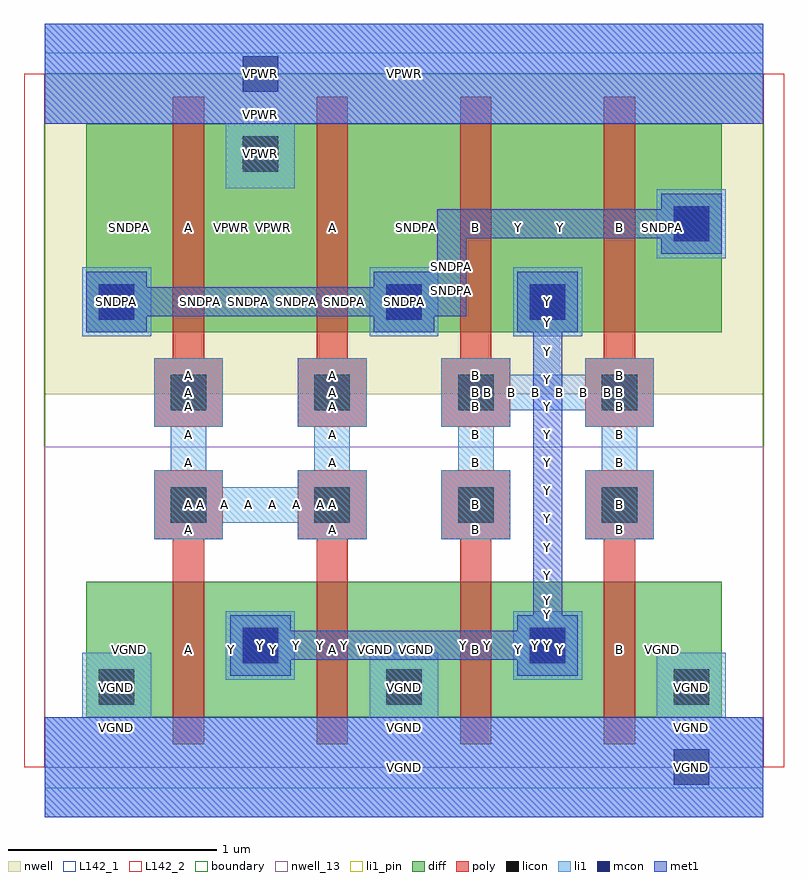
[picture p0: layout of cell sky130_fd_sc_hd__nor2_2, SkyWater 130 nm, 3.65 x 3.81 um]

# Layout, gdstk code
import gdstk
lib = gdstk.Library(unit=1e-6, precision=1e-09)
def R(c, l, rs):  # rectangles x0, y0, x1, y1
    for r in rs: c.add(gdstk.rectangle(r[:2], r[2:], *l))
def A(c, l, x, y, w, h, nx, ny, dx, dy):  # array of equal rectangles
    R(c, l, [(x+i*dx, y+j*dy, x+i*dx+w, y+j*dy+h) for i in range(nx) for j in range(ny)])
def P(c, l, *ps):  # polygons
    for p in ps: c.add(gdstk.Polygon(p, *l))
nwell_13 = (64, 13)
nwell = (64, 20)
diff = (65, 20)
poly = (66, 20)
licon = (66, 44)
li1_pin = (67, 16)
li1 = (67, 20)
mcon = (67, 44)
met1 = (68, 20)
L142_1 = (142, 1)
L142_2 = (142, 2)
boundary = (235, 4)

sky130_fd_sc_hd__nor2_2 = lib.new_cell('sky130_fd_sc_hd__nor2_2')
R(sky130_fd_sc_hd__nor2_2, nwell_13, [(0,0,3.45,1.54)])
R(sky130_fd_sc_hd__nor2_2, nwell, [(0,1.79,3.45,3.33)])
A(sky130_fd_sc_hd__nor2_2, diff, 0.615, 0.24, 0.69, 0.65, 3, 1, 0.69, 0)
A(sky130_fd_sc_hd__nor2_2, diff, 0.615, 2.09, 0.69, 1, 3, 1, 0.69, 0)
R(sky130_fd_sc_hd__nor2_2, diff, [(0.2,0.24,3.25,0.89), (0.2,0.24,0.615,0.89), (2.685,0.24,3.25,0.89), (0.2,2.09,3.25,3.09), (0.2,2.09,0.615,3.09), (2.685,2.09,3.25,3.09)])
P(sky130_fd_sc_hd__nor2_2, poly, [(1.995,0.11),(1.995,1.095),(1.905,1.095),(1.905,1.425),(2.235,1.425),(2.235,1.095),(2.145,1.095),(2.145,0.11)],
  [(2.685,0.11),(2.685,1.095),(2.595,1.095),(2.595,1.425),(2.925,1.425),(2.925,1.095),(2.835,1.095),(2.835,0.11)],
  [(1.905,1.635),(1.905,1.965),(1.995,1.965),(1.995,3.22),(2.145,3.22),(2.145,1.965),(2.235,1.965),(2.235,1.635)],
  [(2.595,1.635),(2.595,1.965),(2.685,1.965),(2.685,3.22),(2.835,3.22),(2.835,1.965),(2.925,1.965),(2.925,1.635)],
  [(0.615,0.11),(0.615,1.095),(0.525,1.095),(0.525,1.425),(0.855,1.425),(0.855,1.095),(0.765,1.095),(0.765,0.11)],
  [(1.305,0.11),(1.305,1.095),(1.215,1.095),(1.215,1.425),(1.545,1.425),(1.545,1.095),(1.455,1.095),(1.455,0.11)],
  [(0.525,1.635),(0.525,1.965),(0.615,1.965),(0.615,3.22),(0.765,3.22),(0.765,1.965),(0.855,1.965),(0.855,1.635)],
  [(1.215,1.635),(1.215,1.965),(1.305,1.965),(1.305,3.22),(1.455,3.22),(1.455,1.965),(1.545,1.965),(1.545,1.635)])
A(sky130_fd_sc_hd__nor2_2, licon, 0.26, 0.3, 0.17, 0.17, 3, 1, 1.38, 0)
A(sky130_fd_sc_hd__nor2_2, licon, 0.605, 1.175, 0.17, 0.17, 4, 2, 0.69, 0.54)
R(sky130_fd_sc_hd__nor2_2, licon, [(0.95,0.5,1.12,0.67), (2.33,0.5,2.5,0.67), (0.26,2.15,0.43,2.32), (1.64,2.15,1.81,2.32), (2.33,2.15,2.5,2.32), (3.02,2.525,3.19,2.695), (0.95,2.86,1.12,3.03)])
R(sky130_fd_sc_hd__nor2_2, li1_pin, [(0,-0.24,3.45,0.24), (0.87,0.42,1.2,0.75), (0,3.09,3.45,3.57)])
P(sky130_fd_sc_hd__nor2_2, li1_pin, [(1.905,1.095),(1.905,1.425),(1.985,1.425),(1.985,1.635),(1.905,1.635),(1.905,1.965),(2.235,1.965),(2.235,1.885),(2.595,1.885),(2.595,1.965),(2.925,1.965),(2.925,1.635),(2.845,1.635),(2.845,1.425),(2.925,1.425),(2.925,1.095),(2.595,1.095),(2.595,1.425),(2.675,1.425),(2.675,1.635),(2.595,1.635),(2.595,1.715),(2.235,1.715),(2.235,1.635),(2.155,1.635),(2.155,1.425),(2.235,1.425),(2.235,1.095)],
  [(0.525,1.095),(0.525,1.425),(0.605,1.425),(0.605,1.635),(0.525,1.635),(0.525,1.965),(0.855,1.965),(0.855,1.635),(0.775,1.635),(0.775,1.425),(0.855,1.425),(0.855,1.345),(1.215,1.345),(1.215,1.425),(1.295,1.425),(1.295,1.635),(1.215,1.635),(1.215,1.965),(1.545,1.965),(1.545,1.635),(1.465,1.635),(1.465,1.425),(1.545,1.425),(1.545,1.095),(1.215,1.095),(1.215,1.175),(0.855,1.175),(0.855,1.095)])
R(sky130_fd_sc_hd__nor2_2, li1, [(0.87,0.42,1.2,0.75), (2.25,0.42,2.58,0.75), (0.18,2.07,0.51,2.4), (1.56,2.07,1.89,2.4), (2.25,2.07,2.58,2.4), (2.94,2.445,3.27,2.775)])
P(sky130_fd_sc_hd__nor2_2, li1, [(1.905,1.095),(1.905,1.425),(1.985,1.425),(1.985,1.635),(1.905,1.635),(1.905,1.965),(2.235,1.965),(2.235,1.885),(2.595,1.885),(2.595,1.965),(2.925,1.965),(2.925,1.635),(2.845,1.635),(2.845,1.425),(2.925,1.425),(2.925,1.095),(2.595,1.095),(2.595,1.425),(2.675,1.425),(2.675,1.635),(2.595,1.635),(2.595,1.715),(2.235,1.715),(2.235,1.635),(2.155,1.635),(2.155,1.425),(2.235,1.425),(2.235,1.095)],
  [(0.87,2.78),(0.87,3.09),(0,3.09),(0,3.57),(3.45,3.57),(3.45,3.09),(1.2,3.09),(1.2,2.78)],
  [(0,-0.24),(0,0.24),(0.18,0.24),(0.18,0.55),(0.51,0.55),(0.51,0.24),(1.56,0.24),(1.56,0.55),(1.89,0.55),(1.89,0.24),(2.94,0.24),(2.94,0.55),(3.27,0.55),(3.27,0.24),(3.45,0.24),(3.45,-0.24)],
  [(0.525,1.095),(0.525,1.425),(0.605,1.425),(0.605,1.635),(0.525,1.635),(0.525,1.965),(0.855,1.965),(0.855,1.635),(0.775,1.635),(0.775,1.425),(0.855,1.425),(0.855,1.345),(1.215,1.345),(1.215,1.425),(1.295,1.425),(1.295,1.635),(1.215,1.635),(1.215,1.965),(1.545,1.965),(1.545,1.635),(1.465,1.635),(1.465,1.425),(1.545,1.425),(1.545,1.095),(1.215,1.095),(1.215,1.175),(0.855,1.175),(0.855,1.095)])
R(sky130_fd_sc_hd__nor2_2, mcon, [(3.02,-0.085,3.19,0.085), (0.95,0.5,1.12,0.67), (2.33,0.5,2.5,0.67), (0.26,2.15,0.43,2.32), (1.64,2.15,1.81,2.32), (2.33,2.15,2.5,2.32), (3.02,2.525,3.19,2.695), (0.95,3.245,1.12,3.415)])
R(sky130_fd_sc_hd__nor2_2, met1, [(0,-0.24,3.45,0.24), (1.87,2.305,1.885,2.38), (0,3.09,3.45,3.57)])
P(sky130_fd_sc_hd__nor2_2, met1, [(0.89,0.44),(0.89,0.73),(1.18,0.73),(1.18,0.655),(2.27,0.655),(2.27,0.73),(2.345,0.73),(2.345,2.09),(2.27,2.09),(2.27,2.38),(2.56,2.38),(2.56,2.09),(2.485,2.09),(2.485,0.73),(2.56,0.73),(2.56,0.44),(2.27,0.44),(2.27,0.515),(1.18,0.515),(1.18,0.44)],
  [(0.2,2.09),(0.2,2.38),(0.49,2.38),(0.49,2.305),(1.58,2.305),(1.58,2.38),(1.87,2.38),(1.87,2.305),(1.885,2.305),(1.885,2.68),(2.96,2.68),(2.96,2.755),(3.25,2.755),(3.25,2.465),(2.96,2.465),(2.96,2.54),(2.025,2.54),(2.025,2.165),(1.87,2.165),(1.87,2.09),(1.58,2.09),(1.58,2.165),(0.49,2.165),(0.49,2.09)])
R(sky130_fd_sc_hd__nor2_2, L142_1, [(0,-0.1,3.45,0), (0,3.33,3.45,3.43)])
R(sky130_fd_sc_hd__nor2_2, L142_2, [(-0.1,0,0,3.33), (3.45,0,3.55,3.33)])
R(sky130_fd_sc_hd__nor2_2, boundary, [(0,0,3.45,3.33)])
sky130_fd_sc_hd__nor2_2.add(gdstk.Label('Y', (2.477,0.565), layer=65, texttype=20))
sky130_fd_sc_hd__nor2_2.add(gdstk.Label('VGND', (2.967,0.565), layer=65, texttype=20))
sky130_fd_sc_hd__nor2_2.add(gdstk.Label('VGND', (1.787,0.565), layer=65, texttype=20))
sky130_fd_sc_hd__nor2_2.add(gdstk.Label('Y', (2.277,0.565), layer=65, texttype=20))
sky130_fd_sc_hd__nor2_2.add(gdstk.Label('Y', (1.097,0.565), layer=65, texttype=20))
sky130_fd_sc_hd__nor2_2.add(gdstk.Label('VGND', (1.587,0.565), layer=65, texttype=20))
sky130_fd_sc_hd__nor2_2.add(gdstk.Label('VGND', (0.407,0.565), layer=65, texttype=20))
sky130_fd_sc_hd__nor2_2.add(gdstk.Label('Y', (0.897,0.565), layer=65, texttype=20))
sky130_fd_sc_hd__nor2_2.add(gdstk.Label('Y', (2.477,0.565), layer=65, texttype=20))
sky130_fd_sc_hd__nor2_2.add(gdstk.Label('VGND', (2.967,0.565), layer=65, texttype=20))
sky130_fd_sc_hd__nor2_2.add(gdstk.Label('VGND', (1.787,0.565), layer=65, texttype=20))
sky130_fd_sc_hd__nor2_2.add(gdstk.Label('Y', (2.277,0.565), layer=65, texttype=20))
sky130_fd_sc_hd__nor2_2.add(gdstk.Label('Y', (1.097,0.565), layer=65, texttype=20))
sky130_fd_sc_hd__nor2_2.add(gdstk.Label('VGND', (1.587,0.565), layer=65, texttype=20))
sky130_fd_sc_hd__nor2_2.add(gdstk.Label('VGND', (0.407,0.565), layer=65, texttype=20))
sky130_fd_sc_hd__nor2_2.add(gdstk.Label('Y', (0.897,0.565), layer=65, texttype=20))
sky130_fd_sc_hd__nor2_2.add(gdstk.Label('Y', (2.415,0.585), layer=65, texttype=20))
sky130_fd_sc_hd__nor2_2.add(gdstk.Label('Y', (1.035,0.585), layer=65, texttype=20))
sky130_fd_sc_hd__nor2_2.add(gdstk.Label('VGND', (3.105,0.385), layer=65, texttype=20))
sky130_fd_sc_hd__nor2_2.add(gdstk.Label('VGND', (0.345,0.385), layer=65, texttype=20))
sky130_fd_sc_hd__nor2_2.add(gdstk.Label('VGND', (1.725,0.385), layer=65, texttype=20))
sky130_fd_sc_hd__nor2_2.add(gdstk.Label('SNDPA', (1.787,2.59), layer=65, texttype=20))
sky130_fd_sc_hd__nor2_2.add(gdstk.Label('Y', (2.277,2.59), layer=65, texttype=20))
sky130_fd_sc_hd__nor2_2.add(gdstk.Label('Y', (2.477,2.59), layer=65, texttype=20))
sky130_fd_sc_hd__nor2_2.add(gdstk.Label('SNDPA', (2.967,2.59), layer=65, texttype=20))
sky130_fd_sc_hd__nor2_2.add(gdstk.Label('SNDPA', (0.407,2.59), layer=65, texttype=20))
sky130_fd_sc_hd__nor2_2.add(gdstk.Label('VPWR', (0.897,2.59), layer=65, texttype=20))
sky130_fd_sc_hd__nor2_2.add(gdstk.Label('VPWR', (1.097,2.59), layer=65, texttype=20))
sky130_fd_sc_hd__nor2_2.add(gdstk.Label('SNDPA', (1.587,2.59), layer=65, texttype=20))
sky130_fd_sc_hd__nor2_2.add(gdstk.Label('SNDPA', (1.787,2.59), layer=65, texttype=20))
sky130_fd_sc_hd__nor2_2.add(gdstk.Label('Y', (2.277,2.59), layer=65, texttype=20))
sky130_fd_sc_hd__nor2_2.add(gdstk.Label('Y', (2.477,2.59), layer=65, texttype=20))
sky130_fd_sc_hd__nor2_2.add(gdstk.Label('SNDPA', (2.967,2.59), layer=65, texttype=20))
sky130_fd_sc_hd__nor2_2.add(gdstk.Label('SNDPA', (0.407,2.59), layer=65, texttype=20))
sky130_fd_sc_hd__nor2_2.add(gdstk.Label('VPWR', (0.897,2.59), layer=65, texttype=20))
sky130_fd_sc_hd__nor2_2.add(gdstk.Label('VPWR', (1.097,2.59), layer=65, texttype=20))
sky130_fd_sc_hd__nor2_2.add(gdstk.Label('SNDPA', (1.587,2.59), layer=65, texttype=20))
sky130_fd_sc_hd__nor2_2.add(gdstk.Label('Y', (2.415,2.235), layer=65, texttype=20))
sky130_fd_sc_hd__nor2_2.add(gdstk.Label('SNDPA', (1.725,2.235), layer=65, texttype=20))
sky130_fd_sc_hd__nor2_2.add(gdstk.Label('SNDPA', (0.345,2.235), layer=65, texttype=20))
sky130_fd_sc_hd__nor2_2.add(gdstk.Label('SNDPA', (3.105,2.61), layer=65, texttype=20))
sky130_fd_sc_hd__nor2_2.add(gdstk.Label('VPWR', (1.035,2.945), layer=65, texttype=20))
sky130_fd_sc_hd__nor2_2.add(gdstk.Label('B', (2.07,2.59), layer=66, texttype=20))
sky130_fd_sc_hd__nor2_2.add(gdstk.Label('B', (2.76,0.565), layer=66, texttype=20))
sky130_fd_sc_hd__nor2_2.add(gdstk.Label('B', (2.76,2.59), layer=66, texttype=20))
sky130_fd_sc_hd__nor2_2.add(gdstk.Label('B', (2.07,0.565), layer=66, texttype=20))
sky130_fd_sc_hd__nor2_2.add(gdstk.Label('A', (1.38,0.565), layer=66, texttype=20))
sky130_fd_sc_hd__nor2_2.add(gdstk.Label('A', (0.69,0.565), layer=66, texttype=20))
sky130_fd_sc_hd__nor2_2.add(gdstk.Label('A', (0.69,2.59), layer=66, texttype=20))
sky130_fd_sc_hd__nor2_2.add(gdstk.Label('A', (1.38,2.59), layer=66, texttype=20))
sky130_fd_sc_hd__nor2_2.add(gdstk.Label('B', (2.07,2.59), layer=66, texttype=20))
sky130_fd_sc_hd__nor2_2.add(gdstk.Label('B', (2.76,0.565), layer=66, texttype=20))
sky130_fd_sc_hd__nor2_2.add(gdstk.Label('B', (2.76,2.59), layer=66, texttype=20))
sky130_fd_sc_hd__nor2_2.add(gdstk.Label('B', (2.07,0.565), layer=66, texttype=20))
sky130_fd_sc_hd__nor2_2.add(gdstk.Label('A', (1.38,0.565), layer=66, texttype=20))
sky130_fd_sc_hd__nor2_2.add(gdstk.Label('A', (0.69,0.565), layer=66, texttype=20))
sky130_fd_sc_hd__nor2_2.add(gdstk.Label('A', (0.69,2.59), layer=66, texttype=20))
sky130_fd_sc_hd__nor2_2.add(gdstk.Label('A', (1.38,2.59), layer=66, texttype=20))
sky130_fd_sc_hd__nor2_2.add(gdstk.Label('B', (2.07,1.88), layer=66, texttype=20))
sky130_fd_sc_hd__nor2_2.add(gdstk.Label('B', (2.07,1.14), layer=66, texttype=20))
sky130_fd_sc_hd__nor2_2.add(gdstk.Label('B', (2.76,1.88), layer=66, texttype=20))
sky130_fd_sc_hd__nor2_2.add(gdstk.Label('B', (2.76,1.14), layer=66, texttype=20))
sky130_fd_sc_hd__nor2_2.add(gdstk.Label('A', (1.38,1.14), layer=66, texttype=20))
sky130_fd_sc_hd__nor2_2.add(gdstk.Label('A', (1.38,1.88), layer=66, texttype=20))
sky130_fd_sc_hd__nor2_2.add(gdstk.Label('A', (0.69,1.14), layer=66, texttype=20))
sky130_fd_sc_hd__nor2_2.add(gdstk.Label('A', (0.69,1.88), layer=66, texttype=20))
sky130_fd_sc_hd__nor2_2.add(gdstk.Label('B', (2.07,1.8), layer=66, texttype=20))
sky130_fd_sc_hd__nor2_2.add(gdstk.Label('B', (2.07,1.26), layer=66, texttype=20))
sky130_fd_sc_hd__nor2_2.add(gdstk.Label('B', (2.76,1.8), layer=66, texttype=20))
sky130_fd_sc_hd__nor2_2.add(gdstk.Label('B', (2.76,1.26), layer=66, texttype=20))
sky130_fd_sc_hd__nor2_2.add(gdstk.Label('A', (1.38,1.26), layer=66, texttype=20))
sky130_fd_sc_hd__nor2_2.add(gdstk.Label('A', (1.38,1.8), layer=66, texttype=20))
sky130_fd_sc_hd__nor2_2.add(gdstk.Label('A', (0.69,1.26), layer=66, texttype=20))
sky130_fd_sc_hd__nor2_2.add(gdstk.Label('A', (0.69,1.8), layer=66, texttype=20))
sky130_fd_sc_hd__nor2_2.add(gdstk.Label('Y', (2.415,2.235), layer=66, texttype=44))
sky130_fd_sc_hd__nor2_2.add(gdstk.Label('SNDPA', (1.725,2.235), layer=66, texttype=44))
sky130_fd_sc_hd__nor2_2.add(gdstk.Label('SNDPA', (0.345,2.235), layer=66, texttype=44))
sky130_fd_sc_hd__nor2_2.add(gdstk.Label('SNDPA', (3.105,2.61), layer=66, texttype=44))
sky130_fd_sc_hd__nor2_2.add(gdstk.Label('VPWR', (1.035,2.945), layer=66, texttype=44))
sky130_fd_sc_hd__nor2_2.add(gdstk.Label('Y', (2.415,0.585), layer=66, texttype=44))
sky130_fd_sc_hd__nor2_2.add(gdstk.Label('Y', (1.035,0.585), layer=66, texttype=44))
sky130_fd_sc_hd__nor2_2.add(gdstk.Label('VGND', (3.105,0.385), layer=66, texttype=44))
sky130_fd_sc_hd__nor2_2.add(gdstk.Label('VGND', (0.345,0.385), layer=66, texttype=44))
sky130_fd_sc_hd__nor2_2.add(gdstk.Label('VGND', (1.725,0.385), layer=66, texttype=44))
sky130_fd_sc_hd__nor2_2.add(gdstk.Label('B', (2.07,1.8), layer=66, texttype=44))
sky130_fd_sc_hd__nor2_2.add(gdstk.Label('B', (2.07,1.26), layer=66, texttype=44))
sky130_fd_sc_hd__nor2_2.add(gdstk.Label('B', (2.76,1.8), layer=66, texttype=44))
sky130_fd_sc_hd__nor2_2.add(gdstk.Label('B', (2.76,1.26), layer=66, texttype=44))
sky130_fd_sc_hd__nor2_2.add(gdstk.Label('A', (1.38,1.26), layer=66, texttype=44))
sky130_fd_sc_hd__nor2_2.add(gdstk.Label('A', (1.38,1.8), layer=66, texttype=44))
sky130_fd_sc_hd__nor2_2.add(gdstk.Label('A', (0.69,1.26), layer=66, texttype=44))
sky130_fd_sc_hd__nor2_2.add(gdstk.Label('A', (0.69,1.8), layer=66, texttype=44))
sky130_fd_sc_hd__nor2_2.add(gdstk.Label('VPWR', (1.725,3.33), layer=67, texttype=20))
sky130_fd_sc_hd__nor2_2.add(gdstk.Label('VGND', (1.725,0), layer=67, texttype=20))
sky130_fd_sc_hd__nor2_2.add(gdstk.Label('VPWR', (1.725,3.33), layer=67, texttype=20))
sky130_fd_sc_hd__nor2_2.add(gdstk.Label('VGND', (1.725,0), layer=67, texttype=20))
sky130_fd_sc_hd__nor2_2.add(gdstk.Label('VGND', (3.105,0.192), layer=67, texttype=20))
sky130_fd_sc_hd__nor2_2.add(gdstk.Label('VGND', (0.345,0.192), layer=67, texttype=20))
sky130_fd_sc_hd__nor2_2.add(gdstk.Label('VGND', (1.725,0.192), layer=67, texttype=20))
sky130_fd_sc_hd__nor2_2.add(gdstk.Label('VPWR', (1.035,3.137), layer=67, texttype=20))
sky130_fd_sc_hd__nor2_2.add(gdstk.Label('B', (2.07,1.732), layer=67, texttype=20))
sky130_fd_sc_hd__nor2_2.add(gdstk.Label('B', (2.127,1.8), layer=67, texttype=20))
sky130_fd_sc_hd__nor2_2.add(gdstk.Label('B', (2.07,1.597), layer=67, texttype=20))
sky130_fd_sc_hd__nor2_2.add(gdstk.Label('B', (2.07,1.462), layer=67, texttype=20))
sky130_fd_sc_hd__nor2_2.add(gdstk.Label('B', (2.07,1.327), layer=67, texttype=20))
sky130_fd_sc_hd__nor2_2.add(gdstk.Label('B', (2.242,1.8), layer=67, texttype=20))
sky130_fd_sc_hd__nor2_2.add(gdstk.Label('B', (2.357,1.8), layer=67, texttype=20))
sky130_fd_sc_hd__nor2_2.add(gdstk.Label('B', (2.472,1.8), layer=67, texttype=20))
sky130_fd_sc_hd__nor2_2.add(gdstk.Label('B', (2.587,1.8), layer=67, texttype=20))
sky130_fd_sc_hd__nor2_2.add(gdstk.Label('B', (2.702,1.8), layer=67, texttype=20))
sky130_fd_sc_hd__nor2_2.add(gdstk.Label('B', (2.76,1.732), layer=67, texttype=20))
sky130_fd_sc_hd__nor2_2.add(gdstk.Label('B', (2.76,1.597), layer=67, texttype=20))
sky130_fd_sc_hd__nor2_2.add(gdstk.Label('B', (2.76,1.462), layer=67, texttype=20))
sky130_fd_sc_hd__nor2_2.add(gdstk.Label('B', (2.76,1.327), layer=67, texttype=20))
sky130_fd_sc_hd__nor2_2.add(gdstk.Label('A', (1.38,1.327), layer=67, texttype=20))
sky130_fd_sc_hd__nor2_2.add(gdstk.Label('A', (1.322,1.26), layer=67, texttype=20))
sky130_fd_sc_hd__nor2_2.add(gdstk.Label('A', (1.38,1.462), layer=67, texttype=20))
sky130_fd_sc_hd__nor2_2.add(gdstk.Label('A', (1.38,1.597), layer=67, texttype=20))
sky130_fd_sc_hd__nor2_2.add(gdstk.Label('A', (1.38,1.732), layer=67, texttype=20))
sky130_fd_sc_hd__nor2_2.add(gdstk.Label('A', (1.207,1.26), layer=67, texttype=20))
sky130_fd_sc_hd__nor2_2.add(gdstk.Label('A', (1.092,1.26), layer=67, texttype=20))
sky130_fd_sc_hd__nor2_2.add(gdstk.Label('A', (0.977,1.26), layer=67, texttype=20))
sky130_fd_sc_hd__nor2_2.add(gdstk.Label('A', (0.862,1.26), layer=67, texttype=20))
sky130_fd_sc_hd__nor2_2.add(gdstk.Label('A', (0.747,1.26), layer=67, texttype=20))
sky130_fd_sc_hd__nor2_2.add(gdstk.Label('A', (0.69,1.327), layer=67, texttype=20))
sky130_fd_sc_hd__nor2_2.add(gdstk.Label('A', (0.69,1.462), layer=67, texttype=20))
sky130_fd_sc_hd__nor2_2.add(gdstk.Label('A', (0.69,1.597), layer=67, texttype=20))
sky130_fd_sc_hd__nor2_2.add(gdstk.Label('A', (0.69,1.732), layer=67, texttype=20))
sky130_fd_sc_hd__nor2_2.add(gdstk.Label('Y', (2.415,0.585), layer=67, texttype=20))
sky130_fd_sc_hd__nor2_2.add(gdstk.Label('Y', (2.415,0.585), layer=67, texttype=20))
sky130_fd_sc_hd__nor2_2.add(gdstk.Label('Y', (1.035,0.585), layer=67, texttype=20))
sky130_fd_sc_hd__nor2_2.add(gdstk.Label('Y', (1.035,0.585), layer=67, texttype=20))
sky130_fd_sc_hd__nor2_2.add(gdstk.Label('Y', (2.415,2.235), layer=67, texttype=20))
sky130_fd_sc_hd__nor2_2.add(gdstk.Label('Y', (2.415,2.235), layer=67, texttype=20))
sky130_fd_sc_hd__nor2_2.add(gdstk.Label('VGND', (3.105,0.385), layer=67, texttype=20))
sky130_fd_sc_hd__nor2_2.add(gdstk.Label('VGND', (3.105,0), layer=67, texttype=20))
sky130_fd_sc_hd__nor2_2.add(gdstk.Label('VGND', (0.345,0.385), layer=67, texttype=20))
sky130_fd_sc_hd__nor2_2.add(gdstk.Label('VGND', (1.725,0.385), layer=67, texttype=20))
sky130_fd_sc_hd__nor2_2.add(gdstk.Label('SNDPA', (1.725,2.235), layer=67, texttype=20))
sky130_fd_sc_hd__nor2_2.add(gdstk.Label('SNDPA', (1.725,2.235), layer=67, texttype=20))
sky130_fd_sc_hd__nor2_2.add(gdstk.Label('SNDPA', (0.345,2.235), layer=67, texttype=20))
sky130_fd_sc_hd__nor2_2.add(gdstk.Label('SNDPA', (0.345,2.235), layer=67, texttype=20))
sky130_fd_sc_hd__nor2_2.add(gdstk.Label('SNDPA', (3.105,2.61), layer=67, texttype=20))
sky130_fd_sc_hd__nor2_2.add(gdstk.Label('SNDPA', (3.105,2.61), layer=67, texttype=20))
sky130_fd_sc_hd__nor2_2.add(gdstk.Label('VPWR', (1.035,2.945), layer=67, texttype=20))
sky130_fd_sc_hd__nor2_2.add(gdstk.Label('VPWR', (1.035,3.33), layer=67, texttype=20))
sky130_fd_sc_hd__nor2_2.add(gdstk.Label('B', (2.07,1.8), layer=67, texttype=20))
sky130_fd_sc_hd__nor2_2.add(gdstk.Label('B', (2.07,1.26), layer=67, texttype=20))
sky130_fd_sc_hd__nor2_2.add(gdstk.Label('B', (2.76,1.8), layer=67, texttype=20))
sky130_fd_sc_hd__nor2_2.add(gdstk.Label('B', (2.76,1.26), layer=67, texttype=20))
sky130_fd_sc_hd__nor2_2.add(gdstk.Label('A', (1.38,1.26), layer=67, texttype=20))
sky130_fd_sc_hd__nor2_2.add(gdstk.Label('A', (1.38,1.8), layer=67, texttype=20))
sky130_fd_sc_hd__nor2_2.add(gdstk.Label('A', (0.69,1.26), layer=67, texttype=20))
sky130_fd_sc_hd__nor2_2.add(gdstk.Label('A', (0.69,1.8), layer=67, texttype=20))
sky130_fd_sc_hd__nor2_2.add(gdstk.Label('Y', (1.035,0.585), layer=67, texttype=5))
sky130_fd_sc_hd__nor2_2.add(gdstk.Label('B', (2.07,1.26), layer=67, texttype=5))
sky130_fd_sc_hd__nor2_2.add(gdstk.Label('A', (0.69,1.26), layer=67, texttype=5))
sky130_fd_sc_hd__nor2_2.add(gdstk.Label('VGND', (1.725,0), layer=67, texttype=5))
sky130_fd_sc_hd__nor2_2.add(gdstk.Label('VPWR', (1.725,3.33), layer=67, texttype=5))
sky130_fd_sc_hd__nor2_2.add(gdstk.Label('Y', (2.415,0.585), layer=67, texttype=44))
sky130_fd_sc_hd__nor2_2.add(gdstk.Label('Y', (1.035,0.585), layer=67, texttype=44))
sky130_fd_sc_hd__nor2_2.add(gdstk.Label('Y', (2.415,2.235), layer=67, texttype=44))
sky130_fd_sc_hd__nor2_2.add(gdstk.Label('VGND', (3.105,0), layer=67, texttype=44))
sky130_fd_sc_hd__nor2_2.add(gdstk.Label('SNDPA', (1.725,2.235), layer=67, texttype=44))
sky130_fd_sc_hd__nor2_2.add(gdstk.Label('SNDPA', (0.345,2.235), layer=67, texttype=44))
sky130_fd_sc_hd__nor2_2.add(gdstk.Label('SNDPA', (3.105,2.61), layer=67, texttype=44))
sky130_fd_sc_hd__nor2_2.add(gdstk.Label('VPWR', (1.035,3.33), layer=67, texttype=44))
sky130_fd_sc_hd__nor2_2.add(gdstk.Label('VPWR', (1.725,3.33), layer=68, texttype=20))
sky130_fd_sc_hd__nor2_2.add(gdstk.Label('VGND', (1.725,0), layer=68, texttype=20))
sky130_fd_sc_hd__nor2_2.add(gdstk.Label('VPWR', (1.725,3.33), layer=68, texttype=20))
sky130_fd_sc_hd__nor2_2.add(gdstk.Label('VGND', (1.725,0), layer=68, texttype=20))
sky130_fd_sc_hd__nor2_2.add(gdstk.Label('Y', (2.357,0.585), layer=68, texttype=20))
sky130_fd_sc_hd__nor2_2.add(gdstk.Label('Y', (2.415,0.652), layer=68, texttype=20))
sky130_fd_sc_hd__nor2_2.add(gdstk.Label('Y', (2.242,0.585), layer=68, texttype=20))
sky130_fd_sc_hd__nor2_2.add(gdstk.Label('Y', (2.127,0.585), layer=68, texttype=20))
sky130_fd_sc_hd__nor2_2.add(gdstk.Label('Y', (2.012,0.585), layer=68, texttype=20))
sky130_fd_sc_hd__nor2_2.add(gdstk.Label('Y', (1.897,0.585), layer=68, texttype=20))
sky130_fd_sc_hd__nor2_2.add(gdstk.Label('Y', (1.782,0.585), layer=68, texttype=20))
sky130_fd_sc_hd__nor2_2.add(gdstk.Label('Y', (1.667,0.585), layer=68, texttype=20))
sky130_fd_sc_hd__nor2_2.add(gdstk.Label('Y', (1.552,0.585), layer=68, texttype=20))
sky130_fd_sc_hd__nor2_2.add(gdstk.Label('Y', (1.437,0.585), layer=68, texttype=20))
sky130_fd_sc_hd__nor2_2.add(gdstk.Label('Y', (1.322,0.585), layer=68, texttype=20))
sky130_fd_sc_hd__nor2_2.add(gdstk.Label('Y', (1.207,0.585), layer=68, texttype=20))
sky130_fd_sc_hd__nor2_2.add(gdstk.Label('Y', (1.092,0.585), layer=68, texttype=20))
sky130_fd_sc_hd__nor2_2.add(gdstk.Label('Y', (2.415,0.732), layer=68, texttype=20))
sky130_fd_sc_hd__nor2_2.add(gdstk.Label('Y', (2.415,0.8), layer=68, texttype=20))
sky130_fd_sc_hd__nor2_2.add(gdstk.Label('Y', (2.415,0.922), layer=68, texttype=20))
sky130_fd_sc_hd__nor2_2.add(gdstk.Label('Y', (2.415,1.057), layer=68, texttype=20))
sky130_fd_sc_hd__nor2_2.add(gdstk.Label('Y', (2.415,1.192), layer=68, texttype=20))
sky130_fd_sc_hd__nor2_2.add(gdstk.Label('Y', (2.415,1.327), layer=68, texttype=20))
sky130_fd_sc_hd__nor2_2.add(gdstk.Label('Y', (2.415,1.462), layer=68, texttype=20))
sky130_fd_sc_hd__nor2_2.add(gdstk.Label('Y', (2.415,1.597), layer=68, texttype=20))
sky130_fd_sc_hd__nor2_2.add(gdstk.Label('Y', (2.415,1.732), layer=68, texttype=20))
sky130_fd_sc_hd__nor2_2.add(gdstk.Label('Y', (2.415,1.862), layer=68, texttype=20))
sky130_fd_sc_hd__nor2_2.add(gdstk.Label('Y', (2.415,1.997), layer=68, texttype=20))
sky130_fd_sc_hd__nor2_2.add(gdstk.Label('Y', (2.415,2.137), layer=68, texttype=20))
sky130_fd_sc_hd__nor2_2.add(gdstk.Label('Y', (2.415,2.22), layer=68, texttype=20))
sky130_fd_sc_hd__nor2_2.add(gdstk.Label('SNDPA', (1.667,2.235), layer=68, texttype=20))
sky130_fd_sc_hd__nor2_2.add(gdstk.Label('SNDPA', (1.782,2.235), layer=68, texttype=20))
sky130_fd_sc_hd__nor2_2.add(gdstk.Label('SNDPA', (1.552,2.235), layer=68, texttype=20))
sky130_fd_sc_hd__nor2_2.add(gdstk.Label('SNDPA', (1.437,2.235), layer=68, texttype=20))
sky130_fd_sc_hd__nor2_2.add(gdstk.Label('SNDPA', (1.322,2.235), layer=68, texttype=20))
sky130_fd_sc_hd__nor2_2.add(gdstk.Label('SNDPA', (1.207,2.235), layer=68, texttype=20))
sky130_fd_sc_hd__nor2_2.add(gdstk.Label('SNDPA', (1.092,2.235), layer=68, texttype=20))
sky130_fd_sc_hd__nor2_2.add(gdstk.Label('SNDPA', (0.977,2.235), layer=68, texttype=20))
sky130_fd_sc_hd__nor2_2.add(gdstk.Label('SNDPA', (0.862,2.235), layer=68, texttype=20))
sky130_fd_sc_hd__nor2_2.add(gdstk.Label('SNDPA', (0.747,2.235), layer=68, texttype=20))
sky130_fd_sc_hd__nor2_2.add(gdstk.Label('SNDPA', (0.632,2.235), layer=68, texttype=20))
sky130_fd_sc_hd__nor2_2.add(gdstk.Label('SNDPA', (0.517,2.235), layer=68, texttype=20))
sky130_fd_sc_hd__nor2_2.add(gdstk.Label('SNDPA', (0.402,2.235), layer=68, texttype=20))
sky130_fd_sc_hd__nor2_2.add(gdstk.Label('SNDPA', (1.897,2.235), layer=68, texttype=20))
sky130_fd_sc_hd__nor2_2.add(gdstk.Label('SNDPA', (1.955,2.287), layer=68, texttype=20))
sky130_fd_sc_hd__nor2_2.add(gdstk.Label('SNDPA', (1.955,2.407), layer=68, texttype=20))
sky130_fd_sc_hd__nor2_2.add(gdstk.Label('SNDPA', (1.955,2.542), layer=68, texttype=20))
sky130_fd_sc_hd__nor2_2.add(gdstk.Label('SNDPA', (2.012,2.61), layer=68, texttype=20))
sky130_fd_sc_hd__nor2_2.add(gdstk.Label('SNDPA', (2.127,2.61), layer=68, texttype=20))
sky130_fd_sc_hd__nor2_2.add(gdstk.Label('SNDPA', (2.242,2.61), layer=68, texttype=20))
sky130_fd_sc_hd__nor2_2.add(gdstk.Label('SNDPA', (2.357,2.61), layer=68, texttype=20))
sky130_fd_sc_hd__nor2_2.add(gdstk.Label('SNDPA', (2.472,2.61), layer=68, texttype=20))
sky130_fd_sc_hd__nor2_2.add(gdstk.Label('SNDPA', (2.587,2.61), layer=68, texttype=20))
sky130_fd_sc_hd__nor2_2.add(gdstk.Label('SNDPA', (2.702,2.61), layer=68, texttype=20))
sky130_fd_sc_hd__nor2_2.add(gdstk.Label('SNDPA', (2.817,2.61), layer=68, texttype=20))
sky130_fd_sc_hd__nor2_2.add(gdstk.Label('SNDPA', (2.932,2.61), layer=68, texttype=20))
sky130_fd_sc_hd__nor2_2.add(gdstk.Label('SNDPA', (3.047,2.61), layer=68, texttype=20))
sky130_fd_sc_hd__nor2_2.add(gdstk.Label('Y', (2.415,0.585), layer=68, texttype=20))
sky130_fd_sc_hd__nor2_2.add(gdstk.Label('Y', (1.035,0.585), layer=68, texttype=20))
sky130_fd_sc_hd__nor2_2.add(gdstk.Label('Y', (2.415,2.235), layer=68, texttype=20))
sky130_fd_sc_hd__nor2_2.add(gdstk.Label('VGND', (3.105,0), layer=68, texttype=20))
sky130_fd_sc_hd__nor2_2.add(gdstk.Label('SNDPA', (1.725,2.235), layer=68, texttype=20))
sky130_fd_sc_hd__nor2_2.add(gdstk.Label('SNDPA', (0.345,2.235), layer=68, texttype=20))
sky130_fd_sc_hd__nor2_2.add(gdstk.Label('SNDPA', (3.105,2.61), layer=68, texttype=20))
sky130_fd_sc_hd__nor2_2.add(gdstk.Label('VPWR', (1.035,3.33), layer=68, texttype=20))
sky130_fd_sc_hd__nor2_2.add(gdstk.Label('VGND', (1.725,0), layer=68, texttype=5))
sky130_fd_sc_hd__nor2_2.add(gdstk.Label('VPWR', (1.725,3.33), layer=68, texttype=5))

lib.write_gds('sky130_fd_sc_hd__nor2_2.gds')
